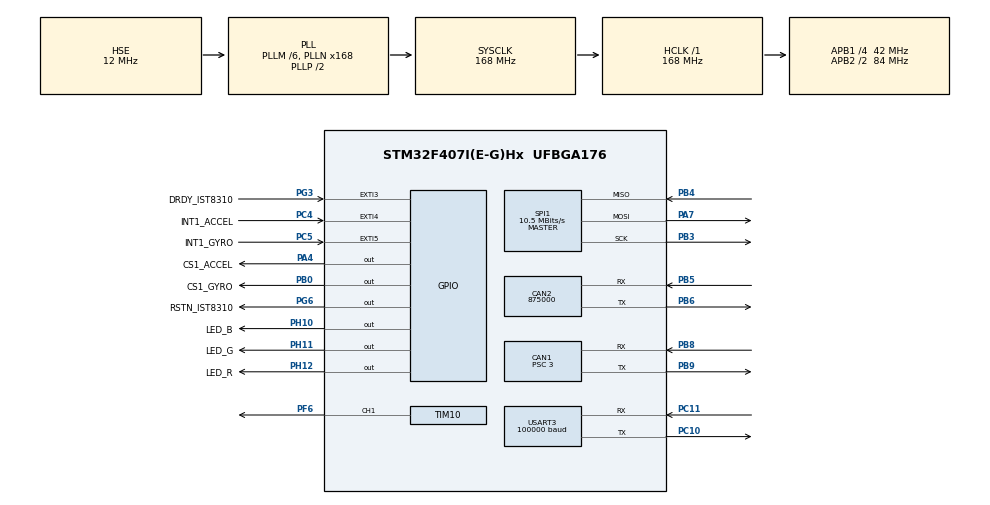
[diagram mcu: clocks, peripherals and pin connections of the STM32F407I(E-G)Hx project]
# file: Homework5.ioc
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CAN1.ABOM=ENABLE
CAN1.BS1=CAN_BS1_9TQ
CAN1.BS2=CAN_BS2_4TQ
CAN1.CalculateBaudRate=1000000
CAN1.CalculateTimeBit=1000
CAN1.CalculateTimeQuantum=71.42857142857143
CAN1.Prescaler=3
CAN2.CalculateBaudRate=875000
CAN2.CalculateTimeBit=1142
CAN2.CalculateTimeQuantum=380.95238095238096
Dma.Request0=SPI1_RX
Dma.Request1=SPI1_TX
Dma.Request2=USART3_RX
Dma.SPI1_RX.0.Direction=DMA_PERIPH_TO_MEMORY
Dma.SPI1_RX.0.FIFOMode=DMA_FIFOMODE_DISABLE
Dma.SPI1_RX.0.Instance=DMA2_Stream0
Dma.SPI1_RX.0.MemDataAlignment=DMA_MDATAALIGN_BYTE
Dma.SPI1_RX.0.MemInc=DMA_MINC_ENABLE
Dma.SPI1_RX.0.Mode=DMA_NORMAL
Dma.SPI1_RX.0.PeriphDataAlignment=DMA_PDATAALIGN_BYTE
Dma.SPI1_RX.0.PeriphInc=DMA_PINC_DISABLE
Dma.SPI1_RX.0.Priority=DMA_PRIORITY_LOW
Dma.SPI1_TX.1.Direction=DMA_MEMORY_TO_PERIPH
Dma.SPI1_TX.1.FIFOMode=DMA_FIFOMODE_DISABLE
Dma.SPI1_TX.1.Instance=DMA2_Stream3
Dma.SPI1_TX.1.MemDataAlignment=DMA_MDATAALIGN_BYTE
Dma.SPI1_TX.1.MemInc=DMA_MINC_ENABLE
Dma.SPI1_TX.1.Mode=DMA_NORMAL
Dma.SPI1_TX.1.PeriphDataAlignment=DMA_PDATAALIGN_BYTE
Dma.SPI1_TX.1.PeriphInc=DMA_PINC_DISABLE
Dma.SPI1_TX.1.Priority=DMA_PRIORITY_LOW
Dma.USART3_RX.2.Direction=DMA_PERIPH_TO_MEMORY
Dma.USART3_RX.2.FIFOMode=DMA_FIFOMODE_DISABLE
Dma.USART3_RX.2.Instance=DMA1_Stream1
Dma.USART3_RX.2.MemDataAlignment=DMA_MDATAALIGN_BYTE
Dma.USART3_RX.2.MemInc=DMA_MINC_ENABLE
Dma.USART3_RX.2.Mode=DMA_CIRCULAR
Dma.USART3_RX.2.PeriphDataAlignment=DMA_PDATAALIGN_BYTE
Dma.USART3_RX.2.PeriphInc=DMA_PINC_DISABLE
Dma.USART3_RX.2.Priority=DMA_PRIORITY_HIGH
FREERTOS.CountingSemaphores01=CAN1CountingSem,3,Dynamic,NULL,3;CAN2CountingSem,3,Dynamic,NULL,3
FREERTOS.Queues01=can1_send_fifo,16,can_device_transmit_member,0,Dynamic,NULL,NULL;can2_send_fifo,16,can_device_transmit_member,0,Dynamic,NULL,NULL
FREERTOS.Tasks01=defaultTask,24,128,StartDefaultTask,Default,NULL,Dynamic,NULL,NULL;Motor_Task,40,512,StartMotor_Task,As weak,NULL,Dynamic,NULL,NULL;CAN1_Sending_Service,40,256,can1_sending_service,As weak,NULL,Dynamic,NULL,NULL;CAN2_Sending_Service,40,256,can2_sending_service,As weak,NULL,Dynamic,NULL,NULL;LED_Task,24,128,StartLED_Task,Default,NULL,Dynamic,NULL,NULL;insTask,40,512,StartinsTask,Default,NULL,Dynamic,NULL,NULL;PowerTask,24,256,StartPowerTask,As weak,NULL,Dynamic,NULL,NULL;DBUS_Task,40,256,StartDBUS_Task,As weak,NULL,Dynamic,NULL,NULL;TaskDJI_motor_service,24,256,DJI_motor_service,As weak,NULL,Dynamic,NULL,NULL
FREERTOS.configMAX_TASK_NAME_LEN=32
FREERTOS.configTOTAL_HEAP_SIZE=65536
Mcu.Family=STM32F4
Mcu.Name=STM32F407I(E-G)Hx
Mcu.Package=UFBGA176
NVIC.CAN1_RX0_IRQn=true\:5\:0\:false\:false\:true\:true\:true\:true\:true
NVIC.CAN1_TX_IRQn=true\:5\:0\:false\:false\:true\:true\:true\:true\:true
NVIC.CAN2_RX0_IRQn=true\:5\:0\:false\:false\:true\:true\:true\:true\:true
NVIC.CAN2_TX_IRQn=true\:5\:0\:false\:false\:true\:true\:true\:true\:true
NVIC.DMA1_Stream1_IRQn=true\:5\:0\:false\:false\:true\:true\:false\:true\:true
NVIC.DMA2_Stream0_IRQn=true\:5\:0\:false\:false\:true\:true\:false\:true\:true
NVIC.DMA2_Stream3_IRQn=true\:5\:0\:false\:false\:true\:true\:false\:true\:true
NVIC.PriorityGroup=NVIC_PRIORITYGROUP_4
NVIC.SPI1_IRQn=true\:5\:0\:false\:false\:true\:true\:true\:true\:true
NVIC.TIM4_IRQn=true\:15\:0\:false\:false\:true\:false\:false\:true\:true
NVIC.TimeBase=TIM4_IRQn
NVIC.TimeBaseIP=TIM4
NVIC.USART3_IRQn=true\:5\:0\:false\:false\:true\:true\:true\:true\:true
PA13.Mode=Serial_Wire
PA13.Signal=SYS_JTMS-SWDIO
PA14.Mode=Serial_Wire
PA14.Signal=SYS_JTCK-SWCLK
PA4.GPIO_Label=CS1_ACCEL
PA4.GPIO_PuPd=GPIO_PULLUP
PA4.GPIO_Speed=GPIO_SPEED_FREQ_HIGH
PA4.PinState=GPIO_PIN_SET
PA4.Signal=GPIO_Output
PA7.Mode=Full_Duplex_Master
PA7.Signal=SPI1_MOSI
PB0.GPIO_Label=CS1_GYRO
PB0.GPIO_PuPd=GPIO_PULLUP
PB0.GPIO_Speed=GPIO_SPEED_FREQ_HIGH
PB0.Signal=GPIO_Output
PB3.Mode=Full_Duplex_Master
PB3.Signal=SPI1_SCK
PB4.Mode=Full_Duplex_Master
PB4.Signal=SPI1_MISO
PB5.Mode=CAN_Activate
PB5.Signal=CAN2_RX
PB6.Mode=CAN_Activate
PB6.Signal=CAN2_TX
PB8.Mode=CAN_Activate
PB8.Signal=CAN1_RX
PB9.Mode=CAN_Activate
PB9.Signal=CAN1_TX
PC10.GPIO_PuPd=GPIO_PULLUP
PC10.Mode=Asynchronous
PC10.Signal=USART3_TX
PC11.GPIO_PuPd=GPIO_PULLUP
PC11.Mode=Asynchronous
PC11.Signal=USART3_RX
PC4.GPIO_Label=INT1_ACCEL
PC4.Signal=GPXTI4
PC5.GPIO_Label=INT1_GYRO
PC5.Signal=GPXTI5
PF6.Signal=S_TIM10_CH1
PG3.GPIO_Label=DRDY_IST8310
PG3.Signal=GPXTI3
PG6.GPIO_Label=RSTN_IST8310
PG6.GPIO_PuPd=GPIO_PULLUP
PG6.GPIO_Speed=GPIO_SPEED_FREQ_MEDIUM
PG6.PinState=GPIO_PIN_SET
PG6.Signal=GPIO_Output
PH0-OSC_IN.Mode=HSE-External-Oscillator
PH0-OSC_IN.Signal=RCC_OSC_IN
PH1-OSC_OUT.Mode=HSE-External-Oscillator
PH1-OSC_OUT.Signal=RCC_OSC_OUT
PH10.GPIO_Label=LED_B
PH10.GPIO_PuPd=GPIO_PULLDOWN
PH10.Signal=GPIO_Output
PH11.GPIO_Label=LED_G
PH11.GPIO_PuPd=GPIO_PULLDOWN
PH11.Signal=GPIO_Output
PH12.GPIO_Label=LED_R
PH12.GPIO_PuPd=GPIO_PULLDOWN
PH12.Signal=GPIO_Output
ProjectManager.HeapSize=0x200
ProjectManager.StackSize=0x400
ProjectManager.TargetToolchain=CMake
RCC.48MHZClocksFreq_Value=84000000
RCC.AHBFreq_Value=168000000
RCC.APB1CLKDivider=RCC_HCLK_DIV4
RCC.APB1Freq_Value=42000000
RCC.APB1TimFreq_Value=84000000
RCC.APB2CLKDivider=RCC_HCLK_DIV2
RCC.APB2Freq_Value=84000000
RCC.APB2TimFreq_Value=168000000
RCC.CortexFreq_Value=168000000
RCC.HCLKFreq_Value=168000000
RCC.HSE_VALUE=12000000
RCC.HSI_VALUE=16000000
RCC.LSE_VALUE=32768
RCC.PLLM=6
RCC.PLLN=168
RCC.PLLSourceVirtual=RCC_PLLSOURCE_HSE
RCC.SYSCLKFreq_VALUE=168000000
RCC.SYSCLKSource=RCC_SYSCLKSOURCE_PLLCLK
RCC.VCOOutputFreq_Value=336000000
SH.S_TIM10_CH1.0=TIM10_CH1,PWM Generation1 CH1
SPI1.BaudRatePrescaler=SPI_BAUDRATEPRESCALER_8
SPI1.CLKPhase=SPI_PHASE_2EDGE
SPI1.CLKPolarity=SPI_POLARITY_HIGH
SPI1.CalculateBaudRate=10.5 MBits/s
SPI1.Direction=SPI_DIRECTION_2LINES
SPI1.Mode=SPI_MODE_MASTER
SPI1.VirtualType=VM_MASTER
TIM10.Channel=TIM_CHANNEL_1
USART3.BaudRate=100000
USART3.Parity=PARITY_EVEN
USART3.VirtualMode=VM_ASYNC
USART3.WordLength=WORDLENGTH_9B
VP_FREERTOS_VS_CMSIS_V2.Mode=CMSIS_V2
VP_SYS_VS_tim4.Mode=TIM4
VP_TIM10_VS_ClockSourceINT.Mode=Enable_Timer
board=custom

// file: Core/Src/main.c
/* USER CODE BEGIN Header */
/**
  ******************************************************************************
  * @file           : main.c
  * @brief          : Main program body
  ******************************************************************************
  * @attention
  *
  * Copyright (c) 2026 STMicroelectronics.
  * All rights reserved.
  *
  * This software is licensed under terms that can be found in the LICENSE file
  * in the root directory of this software component.
  * If no LICENSE file comes with this software, it is provided AS-IS.
  *
  ******************************************************************************
  */
/* USER CODE END Header */
#include "main.h"
#include "cmsis_os.h"
#include "can.h"
#include "dma.h"
#include "spi.h"
#include "tim.h"
#include "usart.h"
#include "gpio.h"

void SystemClock_Config(void);
void MX_FREERTOS_Init(void);

int main(void)
{

  /* MCU Configuration--------------------------------------------------------*/

  /* Reset of all peripherals, Initializes the Flash interface and the Systick. */
  HAL_Init();

  /* Configure the system clock */
  SystemClock_Config();

  /* Initialize all configured peripherals */
  MX_GPIO_Init();
  MX_DMA_Init();
  MX_CAN1_Init();
  MX_CAN2_Init();
  MX_SPI1_Init();
  MX_TIM10_Init();
  MX_USART3_UART_Init();
  /* USER CODE BEGIN 2 */
  HAL_CAN_Start(&hcan1);
  HAL_CAN_ActivateNotification(&hcan1,  CAN_IT_RX_FIFO0_MSG_PENDING | CAN_IT_TX_MAILBOX_EMPTY);
  HAL_CAN_Start(&hcan2);
  HAL_CAN_ActivateNotification(&hcan2,  CAN_IT_RX_FIFO1_MSG_PENDING | CAN_IT_TX_MAILBOX_EMPTY);
  /* USER CODE END 2 */

  /* Init scheduler */
  osKernelInitialize();  /* Call init function for freertos objects (in cmsis_os2.c) */
  MX_FREERTOS_Init();

  /* Start scheduler */
  osKernelStart();

  /* We should never get here as control is now taken by the scheduler */

  /* Infinite loop */
  while (1)
  {

  }
}

void SystemClock_Config(void)
{
  RCC_OscInitTypeDef RCC_OscInitStruct = {0};
  RCC_ClkInitTypeDef RCC_ClkInitStruct = {0};

  /** Configure the main internal regulator output voltage
  */
  __HAL_RCC_PWR_CLK_ENABLE();
  __HAL_PWR_VOLTAGESCALING_CONFIG(PWR_REGULATOR_VOLTAGE_SCALE1);

  /** Initializes the RCC Oscillators according to the specified parameters
  * in the RCC_OscInitTypeDef structure.
  */
  RCC_OscInitStruct.OscillatorType = RCC_OSCILLATORTYPE_HSE;
  RCC_OscInitStruct.HSEState = RCC_HSE_ON;
  RCC_OscInitStruct.PLL.PLLState = RCC_PLL_ON;
  RCC_OscInitStruct.PLL.PLLSource = RCC_PLLSOURCE_HSE;
  RCC_OscInitStruct.PLL.PLLM = 6;
  RCC_OscInitStruct.PLL.PLLN = 168;
  RCC_OscInitStruct.PLL.PLLP = RCC_PLLP_DIV2;
  RCC_OscInitStruct.PLL.PLLQ = 4;
  if (HAL_RCC_OscConfig(&RCC_OscInitStruct) != HAL_OK)
  {
    Error_Handler();
  }

  /** Initializes the CPU, AHB and APB buses clocks
  */
  RCC_ClkInitStruct.ClockType = RCC_CLOCKTYPE_HCLK|RCC_CLOCKTYPE_SYSCLK
                              |RCC_CLOCKTYPE_PCLK1|RCC_CLOCKTYPE_PCLK2;
  RCC_ClkInitStruct.SYSCLKSource = RCC_SYSCLKSOURCE_PLLCLK;
  RCC_ClkInitStruct.AHBCLKDivider = RCC_SYSCLK_DIV1;
  RCC_ClkInitStruct.APB1CLKDivider = RCC_HCLK_DIV4;
  RCC_ClkInitStruct.APB2CLKDivider = RCC_HCLK_DIV2;

  if (HAL_RCC_ClockConfig(&RCC_ClkInitStruct, FLASH_LATENCY_5) != HAL_OK)
  {
    Error_Handler();
  }
}

void HAL_TIM_PeriodElapsedCallback(TIM_HandleTypeDef *htim)
{
  if (htim->Instance == TIM4)
  {
    HAL_IncTick();
  }
}

void Error_Handler(void)
{
  __disable_irq();
  while (1)
  {
  }
}

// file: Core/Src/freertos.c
/* USER CODE BEGIN Header */
/**
  ******************************************************************************
  * File Name          : freertos.c
  * Description        : Code for freertos applications
  ******************************************************************************
  * @attention
  *
  * Copyright (c) 2026 STMicroelectronics.
  * All rights reserved.
  *
  * This software is licensed under terms that can be found in the LICENSE file
  * in the root directory of this software component.
  * If no LICENSE file comes with this software, it is provided AS-IS.
  *
  ******************************************************************************
  */
/* USER CODE END Header */

#include "FreeRTOS.h"
#include "task.h"
#include "main.h"
#include "cmsis_os.h"

/* USER CODE BEGIN Includes */
#include "bsp_dwt.h"
#include "ins_task.h"
#include "spi.h"
/* USER CODE END Includes */

/* USER CODE BEGIN PTD */
typedef struct {
  CAN_HandleTypeDef *hcan;
  uint32_t id;
  uint8_t len;
  uint8_t *buf_data;
} can_device_transmit_member;
/* USER CODE END PTD */

/* USER CODE BEGIN PD */
int16_t b;
/* USER CODE END PD */

/* Definitions for defaultTask */
osThreadId_t defaultTaskHandle;
const osThreadAttr_t defaultTask_attributes = {
  .name = "defaultTask",
  .stack_size = 128 * 4,
  .priority = (osPriority_t) osPriorityNormal,
};
/* Definitions for Motor_Task */
osThreadId_t Motor_TaskHandle;
const osThreadAttr_t Motor_Task_attributes = {
  .name = "Motor_Task",
  .stack_size = 512 * 4,
  .priority = (osPriority_t) osPriorityHigh,
};
/* Definitions for CAN1_Sending_Service */
osThreadId_t CAN1_Sending_ServiceHandle;
const osThreadAttr_t CAN1_Sending_Service_attributes = {
  .name = "CAN1_Sending_Service",
  .stack_size = 256 * 4,
  .priority = (osPriority_t) osPriorityHigh,
};
/* Definitions for CAN2_Sending_Service */
osThreadId_t CAN2_Sending_ServiceHandle;
const osThreadAttr_t CAN2_Sending_Service_attributes = {
  .name = "CAN2_Sending_Service",
  .stack_size = 256 * 4,
  .priority = (osPriority_t) osPriorityHigh,
};
/* Definitions for LED_Task */
osThreadId_t LED_TaskHandle;
const osThreadAttr_t LED_Task_attributes = {
  .name = "LED_Task",
  .stack_size = 128 * 4,
  .priority = (osPriority_t) osPriorityNormal,
};
/* Definitions for insTask */
osThreadId_t insTaskHandle;
const osThreadAttr_t insTask_attributes = {
  .name = "insTask",
  .stack_size = 512 * 4,
  .priority = (osPriority_t) osPriorityHigh,
};
/* Definitions for PowerTask */
osThreadId_t PowerTaskHandle;
const osThreadAttr_t PowerTask_attributes = {
  .name = "PowerTask",
  .stack_size = 256 * 4,
  .priority = (osPriority_t) osPriorityNormal,
};
/* Definitions for DBUS_Task */
osThreadId_t DBUS_TaskHandle;
const osThreadAttr_t DBUS_Task_attributes = {
  .name = "DBUS_Task",
  .stack_size = 256 * 4,
  .priority = (osPriority_t) osPriorityHigh,
};
/* Definitions for TaskDJI_motor_service */
osThreadId_t TaskDJI_motor_serviceHandle;
const osThreadAttr_t TaskDJI_motor_service_attributes = {
  .name = "TaskDJI_motor_service",
  .stack_size = 256 * 4,
  .priority = (osPriority_t) osPriorityNormal,
};
/* Definitions for can1_send_fifo */
osMessageQueueId_t can1_send_fifoHandle;
const osMessageQueueAttr_t can1_send_fifo_attributes = {
  .name = "can1_send_fifo"
};
/* Definitions for can2_send_fifo */
osMessageQueueId_t can2_send_fifoHandle;
const osMessageQueueAttr_t can2_send_fifo_attributes = {
  .name = "can2_send_fifo"
};
/* Definitions for CAN1CountingSem */
osSemaphoreId_t CAN1CountingSemHandle;
const osSemaphoreAttr_t CAN1CountingSem_attributes = {
  .name = "CAN1CountingSem"
};
/* Definitions for CAN2CountingSem */
osSemaphoreId_t CAN2CountingSemHandle;
const osSemaphoreAttr_t CAN2CountingSem_attributes = {
  .name = "CAN2CountingSem"
};

void StartDefaultTask(void *argument);
void StartMotor_Task(void *argument);
void can1_sending_service(void *argument);
void can2_sending_service(void *argument);
void StartLED_Task(void *argument);
void StartinsTask(void *argument);
void StartPowerTask(void *argument);
void StartDBUS_Task(void *argument);
void DJI_motor_service(void *argument);

void MX_FREERTOS_Init(void); /* (MISRA C 2004 rule 8.1) */

void MX_FREERTOS_Init(void) {

  /* Create the semaphores(s) */
  /* creation of CAN1CountingSem */
  CAN1CountingSemHandle = osSemaphoreNew(3, 3, &CAN1CountingSem_attributes);

  /* creation of CAN2CountingSem */
  CAN2CountingSemHandle = osSemaphoreNew(3, 3, &CAN2CountingSem_attributes);

  /* Create the queue(s) */
  /* creation of can1_send_fifo */
  can1_send_fifoHandle = osMessageQueueNew (16, sizeof(can_device_transmit_member), &can1_send_fifo_attributes);

  /* creation of can2_send_fifo */
  can2_send_fifoHandle = osMessageQueueNew (16, sizeof(can_device_transmit_member), &can2_send_fifo_attributes);

  /* Create the thread(s) */
  /* creation of defaultTask */
  defaultTaskHandle = osThreadNew(StartDefaultTask, NULL, &defaultTask_attributes);

  /* creation of Motor_Task */
  Motor_TaskHandle = osThreadNew(StartMotor_Task, NULL, &Motor_Task_attributes);

  /* creation of CAN1_Sending_Service */
  CAN1_Sending_ServiceHandle = osThreadNew(can1_sending_service, NULL, &CAN1_Sending_Service_attributes);

  /* creation of CAN2_Sending_Service */
  CAN2_Sending_ServiceHandle = osThreadNew(can2_sending_service, NULL, &CAN2_Sending_Service_attributes);

  /* creation of LED_Task */
  LED_TaskHandle = osThreadNew(StartLED_Task, NULL, &LED_Task_attributes);

  /* creation of insTask */
  insTaskHandle = osThreadNew(StartinsTask, NULL, &insTask_attributes);

  /* creation of PowerTask */
  PowerTaskHandle = osThreadNew(StartPowerTask, NULL, &PowerTask_attributes);

  /* creation of DBUS_Task */
  DBUS_TaskHandle = osThreadNew(StartDBUS_Task, NULL, &DBUS_Task_attributes);

  /* creation of TaskDJI_motor_service */
  TaskDJI_motor_serviceHandle = osThreadNew(DJI_motor_service, NULL, &TaskDJI_motor_service_attributes);

}

void StartDefaultTask(void *argument)
{
  for(;;)
  {
    osDelay(1);
  }
}

__weak void StartMotor_Task(void *argument)
{
  for(;;)
  {
    osDelay(1);
  }
}

__weak void can1_sending_service(void *argument)
{
  for(;;)
  {
    osDelay(1);
  }
}

__weak void can2_sending_service(void *argument)
{
  for(;;)
  {
    osDelay(1);
  }
}

void StartLED_Task(void *argument)
{
  /* USER CODE BEGIN StartLED_Task */
  GPIO_TypeDef* LED_Port[]={LED_B_GPIO_Port,LED_G_GPIO_Port,LED_R_GPIO_Port};
  uint16_t LED_Pin[]={LED_B_Pin,LED_G_Pin,LED_R_Pin};
  uint8_t LED_num=0;
  /* Infinite loop */
  for(;;)
  {
    for (int i = 0; i < 3; i++)
    {
      HAL_GPIO_WritePin(LED_Port[i],LED_Pin[i],GPIO_PIN_RESET);
    }
    HAL_GPIO_WritePin(LED_Port[LED_num],LED_Pin[LED_num],GPIO_PIN_SET);
    LED_num++;
    if (LED_num == 3)LED_num=0;
    osDelay(500);
  }
  /* USER CODE END StartLED_Task */
}

void StartinsTask(void *argument)
{
  /* USER CODE BEGIN StartinsTask */
  DWT_Init(168);
  INS_Init();
  BMI088_init(&hspi1, 1);
  /* Infinite loop */
  for(;;)
  {
    b++;
    INS_Task();
    osDelay(1);
  }
  /* USER CODE END StartinsTask */
}

__weak void StartPowerTask(void *argument)
{
  for(;;)
  {
    osDelay(1);
  }
}

__weak void StartDBUS_Task(void *argument)
{
  for(;;)
  {
    osDelay(1);
  }
}

__weak void DJI_motor_service(void *argument)
{
  for(;;)
  {
    osDelay(1);
  }
}
